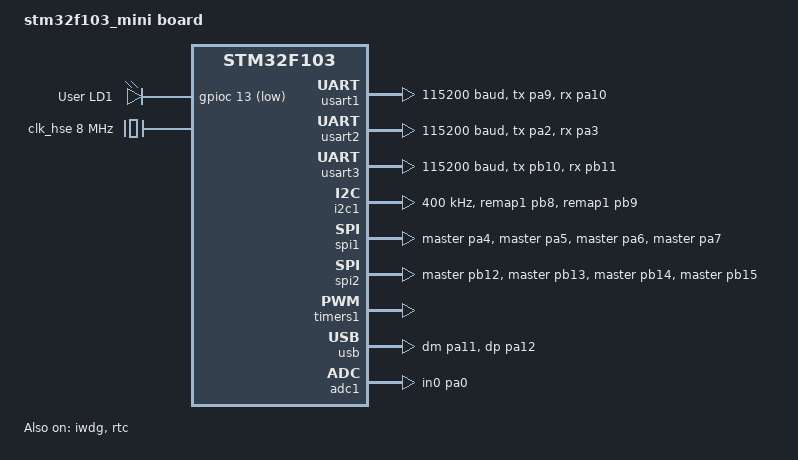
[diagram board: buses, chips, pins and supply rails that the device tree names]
/*
 * Copyright (c) 2020 WuhanStudio
 *
 * SPDX-License-Identifier: Apache-2.0
 */

/dts-v1/;
#include <st/f1/stm32f103Xc.dtsi>
#include <st/f1/stm32f103r(c-d-e)tx-pinctrl.dtsi>

/ {
	model = "stm32f103_mini board";
	compatible = "st,stm32f103";

	chosen {
		zephyr,console = &usart1;
		zephyr,shell-uart = &usart1;
		zephyr,sram = &sram0;
		zephyr,flash = &flash0;
	};

	leds {
		compatible = "gpio-leds";
		green_led_1: led_1 {
			gpios = <&gpioc 13 GPIO_ACTIVE_LOW>;
			label = "User LD1";
		};
	};

	aliases {
		led0 = &green_led_1;
		watchdog0 = &iwdg;
	};
};

&clk_lsi {
	status = "okay";
};

&clk_hse {
	clock-frequency = <DT_FREQ_M(8)>;
	status = "okay";
};

&pll {
	mul = <9>;
	clocks = <&clk_hse>;
	status = "okay";
};

&rcc {
	clocks = <&pll>;
	clock-frequency = <DT_FREQ_M(72)>;
	ahb-prescaler = <1>;
	apb1-prescaler = <2>;
	apb2-prescaler = <1>;
	/* usbpre not set: USB clock = 72 / 1.5: 48MHz */
};

&usart1 {
	pinctrl-0 = <&usart1_tx_pa9 &usart1_rx_pa10>;
	pinctrl-names = "default";
	current-speed = <115200>;
	status = "okay";
};

&usart2 {
	pinctrl-0 = <&usart2_tx_pa2 &usart2_rx_pa3>;
	pinctrl-names = "default";
	current-speed = <115200>;
};

&usart3 {
	pinctrl-0 = <&usart3_tx_pb10 &usart3_rx_pb11>;
	pinctrl-names = "default";
	current-speed = <115200>;
};

&i2c1 {
	pinctrl-0 = <&i2c1_scl_remap1_pb8 &i2c1_sda_remap1_pb9>;
	pinctrl-names = "default";
	status = "okay";
	clock-frequency = <I2C_BITRATE_FAST>;
};

&spi1 {
	pinctrl-0 = <&spi1_nss_master_pa4 &spi1_sck_master_pa5
		     &spi1_miso_master_pa6 &spi1_mosi_master_pa7>;
	pinctrl-names = "default";
	status = "okay";
};

&spi2 {
	pinctrl-0 = <&spi2_nss_master_pb12 &spi2_sck_master_pb13
		     &spi2_miso_master_pb14 &spi2_mosi_master_pb15>;
	pinctrl-names = "default";
	status = "okay";
};

&iwdg {
	status = "okay";
};

&timers1 {
	st,prescaler = <10000>;
	status = "okay";

	pwm1: pwm {
		status = "okay";
		pinctrl-0 = <&tim1_ch1_pwm_pa8>;
		pinctrl-names = "default";
	};
};

zephyr_udc0: &usb {
	pinctrl-0 = <&usb_dm_pa11 &usb_dp_pa12>;
	pinctrl-names = "default";
	status = "okay";
};

&rtc {
	clocks = <&rcc STM32_CLOCK_BUS_APB1 0x10000000>,
		 <&rcc STM32_SRC_LSI RTC_SEL(2)>;
	status = "okay";
};

&adc1 {
	pinctrl-0 = <&adc1_in0_pa0>;
	pinctrl-names = "default";
	status = "okay";
};
